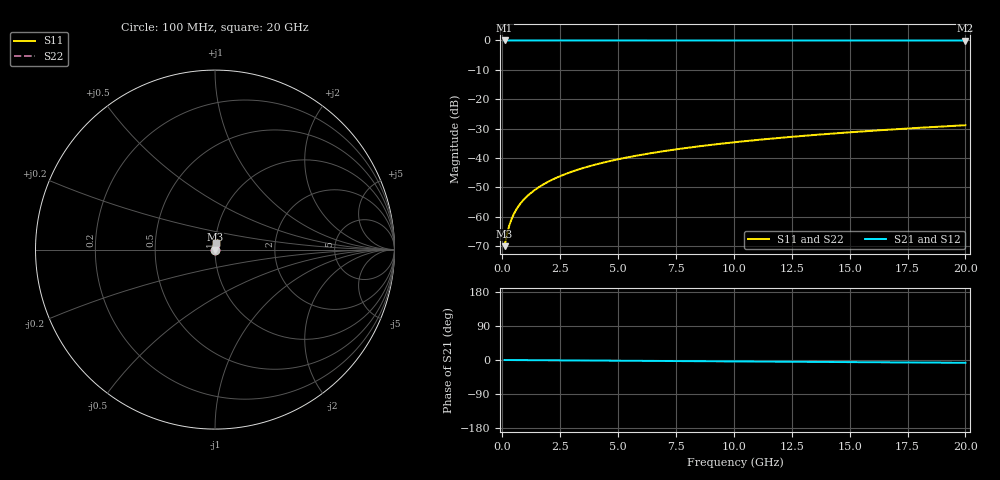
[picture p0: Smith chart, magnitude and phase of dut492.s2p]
! Touchstone file exported from HFSS 2026.1.0
!  File:  C:/ffzhzh/LocalFiles/Ansys_Project_Files/temp_train_TSV_492_1783022828_4048.aedt
!  Generated:  04:09:08 AM Jul  3, 2026
!  Design:  TSV
!  Project:  temp_train_TSV_492_1783022828_4048
! Variables:
!  h_bsmrdl = 2um
!  h_ox = 20um
!  h_rdl = 5um
!  h_sub = 69.96um
!  h_tmrdl = 5um
!  h_tsv = 69.96um
!  h_via = 3um
!  l_bsmrdl = 300um
!  l_sub = 413.14um
!  l_tmrdl = 200um
!  m_sub = 200um
!  pitch = 38.38um
!  r_tsv = 6.57um
!  s_tmrdl = 10um
!  w_bsmrdl = 18um
!  w_sub = 500um
!  w_tmrdl = 12um
!  x_tsv_center1 = 206um
!  x_tsv_center2 = 524um
!  x_tsv_center3 = 736um
!  x_tsv_center4 = 1054um
!  x_tsv_center5 = 1266um
!  x_tsv_center6 = 1584um
# GHz S MA R 50.000000
! Terminal data exported
! Port[1] = TSV1_1_T1
! Port[2] = TSV1_1_T2
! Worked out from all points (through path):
!   200 points, 100 MHz to 20 GHz, reference 50 ohm
!   highest |S21| = 0.00 dB at 100 MHz (marker M1); lowest = 0.0 dB at 20 GHz (marker M2)
!   group delay of S21, straight-line fit = 1.03 ps
!   lowest |S11| = -70.1 dB at 100 MHz (marker M3), VSWR 1.00, Z = 50 + j0.0221 ohm
!   |S11| at or under -10 dB: start of sweep to end of sweep
!   |S22| runs from -70.1 to -28.9 dB; largest |S21 - S12| = 3.2e-15
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0.1  0.0003134 44.9  0.9998 -0.0  0.9998 -0.0  0.0003134 44.9
! Gamma 0 0 0 0
! Port Impedance 50 0 50 0
0.2  0.0004978 62.2  0.9998 -0.1  0.9998 -0.1  0.0004978 62.2
0.3  0.0007008 69.2  0.9998 -0.1  0.9998 -0.1  0.0007008 69.2
0.4  0.0009062 72.8  0.9997 -0.2  0.9997 -0.2  0.0009062 72.8
0.5  0.00111 74.9  0.9997 -0.2  0.9997 -0.2  0.00111 74.9
0.6  0.00131 76.2  0.9997 -0.2  0.9997 -0.2  0.00131 76.2
0.7  0.001507 77.2  0.9997 -0.3  0.9997 -0.3  0.001507 77.2
0.8  0.001701 77.9  0.9997 -0.3  0.9997 -0.3  0.001701 77.9
1  0.002083 79.1  0.9996 -0.4  0.9996 -0.4  0.002083 79.1
1.4  0.002836 80.6  0.9996 -0.5  0.9996 -0.5  0.002836 80.6
1.7  0.003396 81.4  0.9995 -0.6  0.9995 -0.6  0.003396 81.4
2  0.003955 81.9  0.9995 -0.8  0.9995 -0.8  0.003954 81.9
2.7  0.005254 82.7  0.9994 -1.0  0.9994 -1.0  0.005254 82.7
3.5  0.00673 83.2  0.9993 -1.3  0.9993 -1.3  0.00673 83.2
4.2  0.008011 83.3  0.9993 -1.6  0.9993 -1.6  0.008011 83.3
5  0.009466 83.4  0.9992 -1.9  0.9992 -1.9  0.009466 83.4
6.8  0.01271 83.3  0.999 -2.5  0.999 -2.5  0.01271 83.3
8.3  0.01539 83.1  0.9989 -3.1  0.9989 -3.1  0.01539 83.1
10.1  0.01859 82.8  0.9987 -3.8  0.9987 -3.8  0.01859 82.8
13.4  0.02443 82.1  0.9984 -5.0  0.9984 -5.0  0.02443 82.1
16.7  0.03023 81.1  0.9981 -6.2  0.9981 -6.2  0.03023 81.1
20  0.03599 80.1  0.9978 -7.4  0.9978 -7.4  0.03599 80.1
